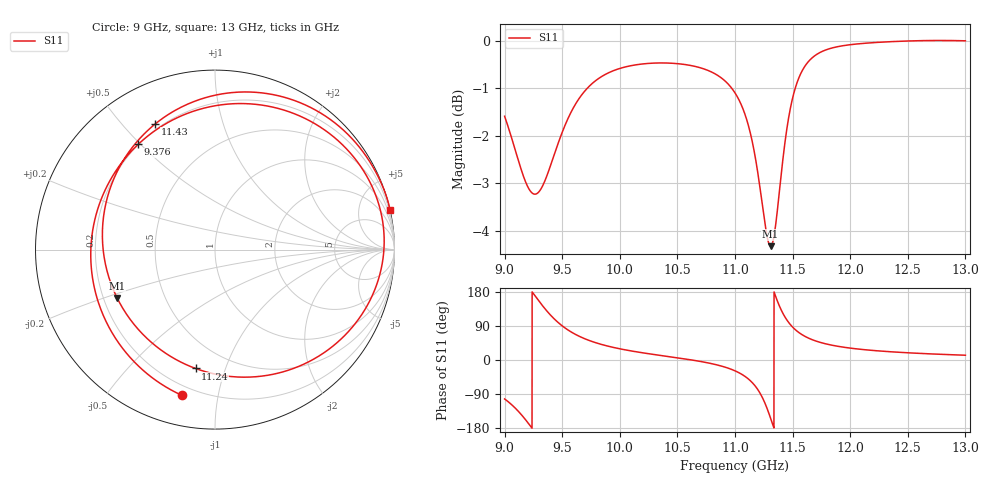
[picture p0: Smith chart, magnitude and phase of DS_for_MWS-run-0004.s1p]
! TOUCHSTONE file generated by CST DESIGN STUDIO
! Date and time: Tue Feb  4 18:32:28 2025
! Project name: C:\Work\MatlabApps\UnitCellOptimizationMatlab\CST\unitcell.cst
! Tree item: Tasks\Sweep1\SPara1\S-Parameters
! Header version: 2024
! Port assignment regex: !\s*Touchstone port\s*([0-9]+)\s*=\s*(CST MWS port|CST DES external port|CST DES block port)\s*(.+)\s* \(\"(.*)\"\)(\s*mode\s*([0-9]+))?.*
! Touchstone port assignment:
! Touchstone port 1 = CST DES external port 1 ("")
# GHz S MA R 50
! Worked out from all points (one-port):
!   4001 points, 9 GHz to 13 GHz, reference 50 ohm
!   lowest |S11| = -4.3 dB at 11.31 GHz (marker M1), VSWR 4.11, Z = 12.8 - j10.9 ohm
!   |S11| at or under -10 dB: nowhere
!   S11 on the Smith chart (normalised r, x): 9 GHz: 0.15, -0.79; 9.376 GHz: 0.20, +0.49; 11.24 GHz: 0.33, -0.79; 11.43 GHz: 0.18, +0.62; 13 GHz: 0.02, +9.06
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9  0.8328 -102.8
9.101  0.7613 -129.6
9.211  0.6986 -169.0
9.288  0.6918 159.6
9.376  0.726 126.1
9.436  0.7622 106.9
9.5  0.8011 90.1
9.607  0.8542 68.9
9.718  0.8912 53.4
10  0.9348 29.6
10.5  0.9458 5.7
10.811  0.925 -10.6
11  0.8812 -28.6
11.13  0.8025 -53.8
11.192  0.7341 -75.4
11.238  0.671 -99.3
11.273  0.6278 -123.6
11.309  0.6082 -153.7
11.337  0.6217 -178.7
11.364  0.657 158.6
11.43  0.7755 115.4
11.5  0.8702 86.9
11.585  0.9305 66.3
11.686  0.9628 51.8
11.818  0.9804 40.5
12  0.9901 31.4
12.5  0.9991 19.0
13  0.9995 12.6
